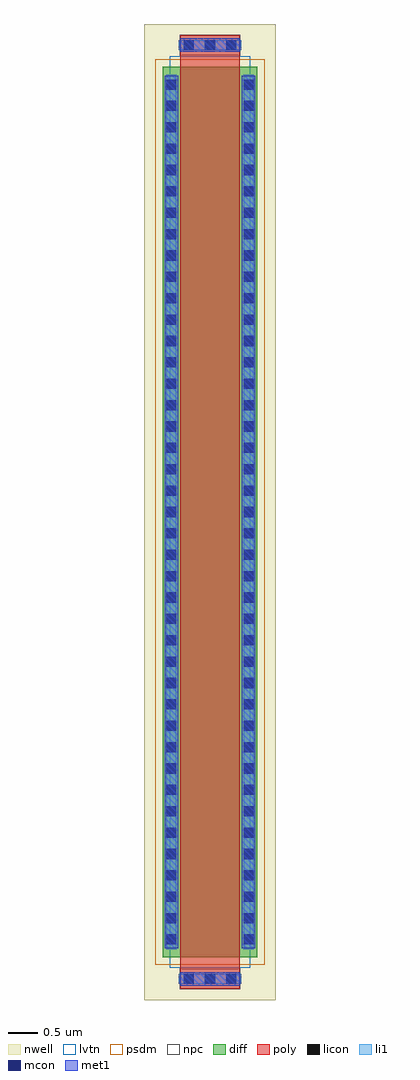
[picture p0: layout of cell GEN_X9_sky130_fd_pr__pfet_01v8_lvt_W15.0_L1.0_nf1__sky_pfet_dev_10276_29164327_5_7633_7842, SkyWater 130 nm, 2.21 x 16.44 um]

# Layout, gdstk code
import gdstk
lib = gdstk.Library(unit=1e-6, precision=1e-09)
def R(c, l, rs):  # rectangles x0, y0, x1, y1
    for r in rs: c.add(gdstk.rectangle(r[:2], r[2:], *l))
nwell = (64, 20)
diff = (65, 20)
poly = (66, 20)
licon = (66, 44)
li1 = (67, 20)
mcon = (67, 44)
met1 = (68, 20)
psdm = (94, 20)
npc = (95, 20)
lvtn = (125, 44)

gen_x9_sky130_fd_pr__pfe = lib.new_cell('GEN_X9_sky130_fd_pr__pfet_01v8_lvt_W15.0_L1.0_nf1__compass_52282c37_6683')
R(gen_x9_sky130_fd_pr__pfe, diff, [(-0.8,-7.5,0.8,7.5)])

c_gen_x9_sky130_fd_pr__pfe = lib.new_cell('GEN_X9_sky130_fd_pr__pfet_01v8_lvt_W15.0_L1.0_nf1__rectangle_52282c37_4771')
c_gen_x9_sky130_fd_pr__pfe.add(gdstk.Reference(gen_x9_sky130_fd_pr__pfe, (0.8,7.5)))

c_gen_x9_sky130_fd_pr__pfe_ = lib.new_cell('GEN_X9_sky130_fd_pr__pfet_01v8_lvt_W15.0_L1.0_nf1__compass_13620e5c_9110')
R(c_gen_x9_sky130_fd_pr__pfe_, licon, [(-0.085,-0.085,0.085,0.085)])

c_gen_x9_sky130_fd_pr__pfe__ = lib.new_cell('GEN_X9_sky130_fd_pr__pfet_01v8_lvt_W15.0_L1.0_nf1__rectangle_13620e5c_5018')
c_gen_x9_sky130_fd_pr__pfe__.add(gdstk.Reference(c_gen_x9_sky130_fd_pr__pfe_, (0.085,0.085)))

c_gen_x9_sky130_fd_pr__pfe___ = lib.new_cell('GEN_X9_sky130_fd_pr__pfet_01v8_lvt_W15.0_L1.0_nf1__via_generator_bf61c820_0534')
c_gen_x9_sky130_fd_pr__pfe___.add(gdstk.Reference(c_gen_x9_sky130_fd_pr__pfe__, (0.065,0.215)))
c_gen_x9_sky130_fd_pr__pfe___.add(gdstk.Reference(c_gen_x9_sky130_fd_pr__pfe__, (0.065,0.575)))
c_gen_x9_sky130_fd_pr__pfe___.add(gdstk.Reference(c_gen_x9_sky130_fd_pr__pfe__, (0.065,0.935)))
c_gen_x9_sky130_fd_pr__pfe___.add(gdstk.Reference(c_gen_x9_sky130_fd_pr__pfe__, (0.065,1.295)))
c_gen_x9_sky130_fd_pr__pfe___.add(gdstk.Reference(c_gen_x9_sky130_fd_pr__pfe__, (0.065,1.655)))
c_gen_x9_sky130_fd_pr__pfe___.add(gdstk.Reference(c_gen_x9_sky130_fd_pr__pfe__, (0.065,2.015)))
c_gen_x9_sky130_fd_pr__pfe___.add(gdstk.Reference(c_gen_x9_sky130_fd_pr__pfe__, (0.065,2.375)))
c_gen_x9_sky130_fd_pr__pfe___.add(gdstk.Reference(c_gen_x9_sky130_fd_pr__pfe__, (0.065,2.735)))
c_gen_x9_sky130_fd_pr__pfe___.add(gdstk.Reference(c_gen_x9_sky130_fd_pr__pfe__, (0.065,3.095)))
c_gen_x9_sky130_fd_pr__pfe___.add(gdstk.Reference(c_gen_x9_sky130_fd_pr__pfe__, (0.065,3.455)))
c_gen_x9_sky130_fd_pr__pfe___.add(gdstk.Reference(c_gen_x9_sky130_fd_pr__pfe__, (0.065,3.815)))
c_gen_x9_sky130_fd_pr__pfe___.add(gdstk.Reference(c_gen_x9_sky130_fd_pr__pfe__, (0.065,4.175)))
c_gen_x9_sky130_fd_pr__pfe___.add(gdstk.Reference(c_gen_x9_sky130_fd_pr__pfe__, (0.065,4.535)))
c_gen_x9_sky130_fd_pr__pfe___.add(gdstk.Reference(c_gen_x9_sky130_fd_pr__pfe__, (0.065,4.895)))
c_gen_x9_sky130_fd_pr__pfe___.add(gdstk.Reference(c_gen_x9_sky130_fd_pr__pfe__, (0.065,5.255)))
c_gen_x9_sky130_fd_pr__pfe___.add(gdstk.Reference(c_gen_x9_sky130_fd_pr__pfe__, (0.065,5.615)))
c_gen_x9_sky130_fd_pr__pfe___.add(gdstk.Reference(c_gen_x9_sky130_fd_pr__pfe__, (0.065,5.975)))
c_gen_x9_sky130_fd_pr__pfe___.add(gdstk.Reference(c_gen_x9_sky130_fd_pr__pfe__, (0.065,6.335)))
c_gen_x9_sky130_fd_pr__pfe___.add(gdstk.Reference(c_gen_x9_sky130_fd_pr__pfe__, (0.065,6.695)))
c_gen_x9_sky130_fd_pr__pfe___.add(gdstk.Reference(c_gen_x9_sky130_fd_pr__pfe__, (0.065,7.055)))
c_gen_x9_sky130_fd_pr__pfe___.add(gdstk.Reference(c_gen_x9_sky130_fd_pr__pfe__, (0.065,7.415)))
c_gen_x9_sky130_fd_pr__pfe___.add(gdstk.Reference(c_gen_x9_sky130_fd_pr__pfe__, (0.065,7.775)))
c_gen_x9_sky130_fd_pr__pfe___.add(gdstk.Reference(c_gen_x9_sky130_fd_pr__pfe__, (0.065,8.135)))
c_gen_x9_sky130_fd_pr__pfe___.add(gdstk.Reference(c_gen_x9_sky130_fd_pr__pfe__, (0.065,8.495)))
c_gen_x9_sky130_fd_pr__pfe___.add(gdstk.Reference(c_gen_x9_sky130_fd_pr__pfe__, (0.065,8.855)))
c_gen_x9_sky130_fd_pr__pfe___.add(gdstk.Reference(c_gen_x9_sky130_fd_pr__pfe__, (0.065,9.215)))
c_gen_x9_sky130_fd_pr__pfe___.add(gdstk.Reference(c_gen_x9_sky130_fd_pr__pfe__, (0.065,9.575)))
c_gen_x9_sky130_fd_pr__pfe___.add(gdstk.Reference(c_gen_x9_sky130_fd_pr__pfe__, (0.065,9.935)))
c_gen_x9_sky130_fd_pr__pfe___.add(gdstk.Reference(c_gen_x9_sky130_fd_pr__pfe__, (0.065,10.295)))
c_gen_x9_sky130_fd_pr__pfe___.add(gdstk.Reference(c_gen_x9_sky130_fd_pr__pfe__, (0.065,10.655)))
c_gen_x9_sky130_fd_pr__pfe___.add(gdstk.Reference(c_gen_x9_sky130_fd_pr__pfe__, (0.065,11.015)))
c_gen_x9_sky130_fd_pr__pfe___.add(gdstk.Reference(c_gen_x9_sky130_fd_pr__pfe__, (0.065,11.375)))
c_gen_x9_sky130_fd_pr__pfe___.add(gdstk.Reference(c_gen_x9_sky130_fd_pr__pfe__, (0.065,11.735)))
c_gen_x9_sky130_fd_pr__pfe___.add(gdstk.Reference(c_gen_x9_sky130_fd_pr__pfe__, (0.065,12.095)))
c_gen_x9_sky130_fd_pr__pfe___.add(gdstk.Reference(c_gen_x9_sky130_fd_pr__pfe__, (0.065,12.455)))
c_gen_x9_sky130_fd_pr__pfe___.add(gdstk.Reference(c_gen_x9_sky130_fd_pr__pfe__, (0.065,12.815)))
c_gen_x9_sky130_fd_pr__pfe___.add(gdstk.Reference(c_gen_x9_sky130_fd_pr__pfe__, (0.065,13.175)))
c_gen_x9_sky130_fd_pr__pfe___.add(gdstk.Reference(c_gen_x9_sky130_fd_pr__pfe__, (0.065,13.535)))
c_gen_x9_sky130_fd_pr__pfe___.add(gdstk.Reference(c_gen_x9_sky130_fd_pr__pfe__, (0.065,13.895)))
c_gen_x9_sky130_fd_pr__pfe___.add(gdstk.Reference(c_gen_x9_sky130_fd_pr__pfe__, (0.065,14.255)))
c_gen_x9_sky130_fd_pr__pfe___.add(gdstk.Reference(c_gen_x9_sky130_fd_pr__pfe__, (0.065,14.615)))

c_gen_x9_sky130_fd_pr__pfe____ = lib.new_cell('GEN_X9_sky130_fd_pr__pfet_01v8_lvt_W15.0_L1.0_nf1__compass_d68a24f6_7389')
R(c_gen_x9_sky130_fd_pr__pfe____, li1, [(-0.085,-7.365,0.085,7.365)])

c_gen_x9_sky130_fd_pr__pfe_____ = lib.new_cell('GEN_X9_sky130_fd_pr__pfet_01v8_lvt_W15.0_L1.0_nf1__rectangle_d68a24f6_6407')
c_gen_x9_sky130_fd_pr__pfe_____.add(gdstk.Reference(c_gen_x9_sky130_fd_pr__pfe____, (0.085,7.365)))

c_gen_x9_sky130_fd_pr__pfe______ = lib.new_cell('GEN_X9_sky130_fd_pr__pfet_01v8_lvt_W15.0_L1.0_nf1__compass_3c2dbaf2_5419')
R(c_gen_x9_sky130_fd_pr__pfe______, mcon, [(-0.085,-0.085,0.085,0.085)])

c_gen_x9_sky130_fd_pr__pfe_______ = lib.new_cell('GEN_X9_sky130_fd_pr__pfet_01v8_lvt_W15.0_L1.0_nf1__rectangle_3c2dbaf2_4488')
c_gen_x9_sky130_fd_pr__pfe_______.add(gdstk.Reference(c_gen_x9_sky130_fd_pr__pfe______, (0.085,0.085)))

c_gen_x9_sky130_fd_pr__pfe________ = lib.new_cell('GEN_X9_sky130_fd_pr__pfet_01v8_lvt_W15.0_L1.0_nf1__via_generator_392beb01_2680')
c_gen_x9_sky130_fd_pr__pfe________.add(gdstk.Reference(c_gen_x9_sky130_fd_pr__pfe_______, (0.065,0.215)))
c_gen_x9_sky130_fd_pr__pfe________.add(gdstk.Reference(c_gen_x9_sky130_fd_pr__pfe_______, (0.065,0.575)))
c_gen_x9_sky130_fd_pr__pfe________.add(gdstk.Reference(c_gen_x9_sky130_fd_pr__pfe_______, (0.065,0.935)))
c_gen_x9_sky130_fd_pr__pfe________.add(gdstk.Reference(c_gen_x9_sky130_fd_pr__pfe_______, (0.065,1.295)))
c_gen_x9_sky130_fd_pr__pfe________.add(gdstk.Reference(c_gen_x9_sky130_fd_pr__pfe_______, (0.065,1.655)))
c_gen_x9_sky130_fd_pr__pfe________.add(gdstk.Reference(c_gen_x9_sky130_fd_pr__pfe_______, (0.065,2.015)))
c_gen_x9_sky130_fd_pr__pfe________.add(gdstk.Reference(c_gen_x9_sky130_fd_pr__pfe_______, (0.065,2.375)))
c_gen_x9_sky130_fd_pr__pfe________.add(gdstk.Reference(c_gen_x9_sky130_fd_pr__pfe_______, (0.065,2.735)))
c_gen_x9_sky130_fd_pr__pfe________.add(gdstk.Reference(c_gen_x9_sky130_fd_pr__pfe_______, (0.065,3.095)))
c_gen_x9_sky130_fd_pr__pfe________.add(gdstk.Reference(c_gen_x9_sky130_fd_pr__pfe_______, (0.065,3.455)))
c_gen_x9_sky130_fd_pr__pfe________.add(gdstk.Reference(c_gen_x9_sky130_fd_pr__pfe_______, (0.065,3.815)))
c_gen_x9_sky130_fd_pr__pfe________.add(gdstk.Reference(c_gen_x9_sky130_fd_pr__pfe_______, (0.065,4.175)))
c_gen_x9_sky130_fd_pr__pfe________.add(gdstk.Reference(c_gen_x9_sky130_fd_pr__pfe_______, (0.065,4.535)))
c_gen_x9_sky130_fd_pr__pfe________.add(gdstk.Reference(c_gen_x9_sky130_fd_pr__pfe_______, (0.065,4.895)))
c_gen_x9_sky130_fd_pr__pfe________.add(gdstk.Reference(c_gen_x9_sky130_fd_pr__pfe_______, (0.065,5.255)))
c_gen_x9_sky130_fd_pr__pfe________.add(gdstk.Reference(c_gen_x9_sky130_fd_pr__pfe_______, (0.065,5.615)))
c_gen_x9_sky130_fd_pr__pfe________.add(gdstk.Reference(c_gen_x9_sky130_fd_pr__pfe_______, (0.065,5.975)))
c_gen_x9_sky130_fd_pr__pfe________.add(gdstk.Reference(c_gen_x9_sky130_fd_pr__pfe_______, (0.065,6.335)))
c_gen_x9_sky130_fd_pr__pfe________.add(gdstk.Reference(c_gen_x9_sky130_fd_pr__pfe_______, (0.065,6.695)))
c_gen_x9_sky130_fd_pr__pfe________.add(gdstk.Reference(c_gen_x9_sky130_fd_pr__pfe_______, (0.065,7.055)))
c_gen_x9_sky130_fd_pr__pfe________.add(gdstk.Reference(c_gen_x9_sky130_fd_pr__pfe_______, (0.065,7.415)))
c_gen_x9_sky130_fd_pr__pfe________.add(gdstk.Reference(c_gen_x9_sky130_fd_pr__pfe_______, (0.065,7.775)))
c_gen_x9_sky130_fd_pr__pfe________.add(gdstk.Reference(c_gen_x9_sky130_fd_pr__pfe_______, (0.065,8.135)))
c_gen_x9_sky130_fd_pr__pfe________.add(gdstk.Reference(c_gen_x9_sky130_fd_pr__pfe_______, (0.065,8.495)))
c_gen_x9_sky130_fd_pr__pfe________.add(gdstk.Reference(c_gen_x9_sky130_fd_pr__pfe_______, (0.065,8.855)))
c_gen_x9_sky130_fd_pr__pfe________.add(gdstk.Reference(c_gen_x9_sky130_fd_pr__pfe_______, (0.065,9.215)))
c_gen_x9_sky130_fd_pr__pfe________.add(gdstk.Reference(c_gen_x9_sky130_fd_pr__pfe_______, (0.065,9.575)))
c_gen_x9_sky130_fd_pr__pfe________.add(gdstk.Reference(c_gen_x9_sky130_fd_pr__pfe_______, (0.065,9.935)))
c_gen_x9_sky130_fd_pr__pfe________.add(gdstk.Reference(c_gen_x9_sky130_fd_pr__pfe_______, (0.065,10.295)))
c_gen_x9_sky130_fd_pr__pfe________.add(gdstk.Reference(c_gen_x9_sky130_fd_pr__pfe_______, (0.065,10.655)))
c_gen_x9_sky130_fd_pr__pfe________.add(gdstk.Reference(c_gen_x9_sky130_fd_pr__pfe_______, (0.065,11.015)))
c_gen_x9_sky130_fd_pr__pfe________.add(gdstk.Reference(c_gen_x9_sky130_fd_pr__pfe_______, (0.065,11.375)))
c_gen_x9_sky130_fd_pr__pfe________.add(gdstk.Reference(c_gen_x9_sky130_fd_pr__pfe_______, (0.065,11.735)))
c_gen_x9_sky130_fd_pr__pfe________.add(gdstk.Reference(c_gen_x9_sky130_fd_pr__pfe_______, (0.065,12.095)))
c_gen_x9_sky130_fd_pr__pfe________.add(gdstk.Reference(c_gen_x9_sky130_fd_pr__pfe_______, (0.065,12.455)))
c_gen_x9_sky130_fd_pr__pfe________.add(gdstk.Reference(c_gen_x9_sky130_fd_pr__pfe_______, (0.065,12.815)))
c_gen_x9_sky130_fd_pr__pfe________.add(gdstk.Reference(c_gen_x9_sky130_fd_pr__pfe_______, (0.065,13.175)))
c_gen_x9_sky130_fd_pr__pfe________.add(gdstk.Reference(c_gen_x9_sky130_fd_pr__pfe_______, (0.065,13.535)))
c_gen_x9_sky130_fd_pr__pfe________.add(gdstk.Reference(c_gen_x9_sky130_fd_pr__pfe_______, (0.065,13.895)))
c_gen_x9_sky130_fd_pr__pfe________.add(gdstk.Reference(c_gen_x9_sky130_fd_pr__pfe_______, (0.065,14.255)))
c_gen_x9_sky130_fd_pr__pfe________.add(gdstk.Reference(c_gen_x9_sky130_fd_pr__pfe_______, (0.065,14.615)))

c_gen_x9_sky130_fd_pr__pfe_________ = lib.new_cell('GEN_X9_sky130_fd_pr__pfet_01v8_lvt_W15.0_L1.0_nf1__compass_a1e64faa_7385')
R(c_gen_x9_sky130_fd_pr__pfe_________, met1, [(-0.115,-7.345,0.115,7.345)])

c_gen_x9_sky130_fd_pr__pfe__________ = lib.new_cell('GEN_X9_sky130_fd_pr__pfet_01v8_lvt_W15.0_L1.0_nf1__rectangle_a1e64faa_0467')
c_gen_x9_sky130_fd_pr__pfe__________.add(gdstk.Reference(c_gen_x9_sky130_fd_pr__pfe_________, (0.115,7.345)))

c_gen_x9_sky130_fd_pr__pfe___________ = lib.new_cell('GEN_X9_sky130_fd_pr__pfet_01v8_lvt_W15.0_L1.0_nf1__via_stack_d3920be4_9771')
c_gen_x9_sky130_fd_pr__pfe___________.add(gdstk.Reference(c_gen_x9_sky130_fd_pr__pfe___, (0,0)))
c_gen_x9_sky130_fd_pr__pfe___________.add(gdstk.Reference(c_gen_x9_sky130_fd_pr__pfe_____, (0.065,0.135)))
c_gen_x9_sky130_fd_pr__pfe___________.add(gdstk.Reference(c_gen_x9_sky130_fd_pr__pfe________, (0,0)))
c_gen_x9_sky130_fd_pr__pfe___________.add(gdstk.Reference(c_gen_x9_sky130_fd_pr__pfe__________, (0.035,0.155)))

c_gen_x9_sky130_fd_pr__pfe____________ = lib.new_cell('GEN_X9_sky130_fd_pr__pfet_01v8_lvt_W15.0_L1.0_nf1__compass_b0803ffb_2723')
R(c_gen_x9_sky130_fd_pr__pfe____________, poly, [(-0.5,-7.7,0.5,7.7)])

c_gen_x9_sky130_fd_pr__pfe_____________ = lib.new_cell('GEN_X9_sky130_fd_pr__pfet_01v8_lvt_W15.0_L1.0_nf1__rectangle_b0803ffb_7302')
c_gen_x9_sky130_fd_pr__pfe_____________.add(gdstk.Reference(c_gen_x9_sky130_fd_pr__pfe____________, (0.5,7.7)))

c_gen_x9_sky130_fd_pr__pfe______________ = lib.new_cell('GEN_X9_sky130_fd_pr__pfet_01v8_lvt_W15.0_L1.0_nf1__compass_674a5263_8974')
R(c_gen_x9_sky130_fd_pr__pfe______________, poly, [(-0.5,-0.165,0.5,0.165)])

c_gen_x9_sky130_fd_pr__pfe_______________ = lib.new_cell('GEN_X9_sky130_fd_pr__pfet_01v8_lvt_W15.0_L1.0_nf1__rectangle_674a5263_5785')
c_gen_x9_sky130_fd_pr__pfe_______________.add(gdstk.Reference(c_gen_x9_sky130_fd_pr__pfe______________, (0.5,0.165)))

c_gen_x9_sky130_fd_pr__pfe________________ = lib.new_cell('GEN_X9_sky130_fd_pr__pfet_01v8_lvt_W15.0_L1.0_nf1__compass_415d02c3_9800')
R(c_gen_x9_sky130_fd_pr__pfe________________, npc, [(-0.51,-0.175,0.51,0.175)])

c_gen_x9_sky130_fd_pr__pfe_________________ = lib.new_cell('GEN_X9_sky130_fd_pr__pfet_01v8_lvt_W15.0_L1.0_nf1__rectangle_415d02c3_3799')
c_gen_x9_sky130_fd_pr__pfe_________________.add(gdstk.Reference(c_gen_x9_sky130_fd_pr__pfe________________, (0.51,0.175)))

c_gen_x9_sky130_fd_pr__pfe__________________ = lib.new_cell('GEN_X9_sky130_fd_pr__pfet_01v8_lvt_W15.0_L1.0_nf1__via_generator_33d20b07_8128')
c_gen_x9_sky130_fd_pr__pfe__________________.add(gdstk.Reference(c_gen_x9_sky130_fd_pr__pfe__, (0.055,0.08)))
c_gen_x9_sky130_fd_pr__pfe__________________.add(gdstk.Reference(c_gen_x9_sky130_fd_pr__pfe__, (0.415,0.08)))
c_gen_x9_sky130_fd_pr__pfe__________________.add(gdstk.Reference(c_gen_x9_sky130_fd_pr__pfe__, (0.775,0.08)))

c_gen_x9_sky130_fd_pr__pfe___________________ = lib.new_cell('GEN_X9_sky130_fd_pr__pfet_01v8_lvt_W15.0_L1.0_nf1__compass_b5a72fd6_1308')
R(c_gen_x9_sky130_fd_pr__pfe___________________, li1, [(-0.525,-0.085,0.525,0.085)])

c_gen_x9_sky130_fd_pr__pfe____________________ = lib.new_cell('GEN_X9_sky130_fd_pr__pfet_01v8_lvt_W15.0_L1.0_nf1__rectangle_b5a72fd6_1876')
c_gen_x9_sky130_fd_pr__pfe____________________.add(gdstk.Reference(c_gen_x9_sky130_fd_pr__pfe___________________, (0.525,0.085)))

c_gen_x9_sky130_fd_pr__pfe_____________________ = lib.new_cell('GEN_X9_sky130_fd_pr__pfet_01v8_lvt_W15.0_L1.0_nf1__via_generator_01ce030f_5330')
c_gen_x9_sky130_fd_pr__pfe_____________________.add(gdstk.Reference(c_gen_x9_sky130_fd_pr__pfe_______, (0.055,0.08)))
c_gen_x9_sky130_fd_pr__pfe_____________________.add(gdstk.Reference(c_gen_x9_sky130_fd_pr__pfe_______, (0.415,0.08)))
c_gen_x9_sky130_fd_pr__pfe_____________________.add(gdstk.Reference(c_gen_x9_sky130_fd_pr__pfe_______, (0.775,0.08)))

c_gen_x9_sky130_fd_pr__pfe______________________ = lib.new_cell('GEN_X9_sky130_fd_pr__pfet_01v8_lvt_W15.0_L1.0_nf1__compass_8f72ae85_1149')
R(c_gen_x9_sky130_fd_pr__pfe______________________, met1, [(-0.505,-0.115,0.505,0.115)])

c_gen_x9_sky130_fd_pr__pfe_______________________ = lib.new_cell('GEN_X9_sky130_fd_pr__pfet_01v8_lvt_W15.0_L1.0_nf1__rectangle_8f72ae85_0348')
c_gen_x9_sky130_fd_pr__pfe_______________________.add(gdstk.Reference(c_gen_x9_sky130_fd_pr__pfe______________________, (0.505,0.115)))

c_gen_x9_sky130_fd_pr__pfe________________________ = lib.new_cell('GEN_X9_sky130_fd_pr__pfet_01v8_lvt_W15.0_L1.0_nf1__via_stack_10315345_2652')
c_gen_x9_sky130_fd_pr__pfe________________________.add(gdstk.Reference(c_gen_x9_sky130_fd_pr__pfe_________________, (-0.01,-0.01)))
c_gen_x9_sky130_fd_pr__pfe________________________.add(gdstk.Reference(c_gen_x9_sky130_fd_pr__pfe__________________, (0,0)))
c_gen_x9_sky130_fd_pr__pfe________________________.add(gdstk.Reference(c_gen_x9_sky130_fd_pr__pfe____________________, (-0.025,0.08)))
c_gen_x9_sky130_fd_pr__pfe________________________.add(gdstk.Reference(c_gen_x9_sky130_fd_pr__pfe_____________________, (0,0)))
c_gen_x9_sky130_fd_pr__pfe________________________.add(gdstk.Reference(c_gen_x9_sky130_fd_pr__pfe_______________________, (-0.005,0.05)))

c_gen_x9_sky130_fd_pr__pfe_________________________ = lib.new_cell('GEN_X9_sky130_fd_pr__pfet_01v8_lvt_W15.0_L1.0_nf1__poly_con$4_3032')
c_gen_x9_sky130_fd_pr__pfe_________________________.add(gdstk.Reference(c_gen_x9_sky130_fd_pr__pfe_______________, (0,0)))
c_gen_x9_sky130_fd_pr__pfe_________________________.add(gdstk.Reference(c_gen_x9_sky130_fd_pr__pfe________________________, (0,0)))

c_gen_x9_sky130_fd_pr__pfe__________________________ = lib.new_cell('GEN_X9_sky130_fd_pr__pfet_01v8_lvt_W15.0_L1.0_nf1__compass_8d9b71a2_6541')
R(c_gen_x9_sky130_fd_pr__pfe__________________________, psdm, [(-0.925,-7.625,0.925,7.625)])

c_gen_x9_sky130_fd_pr__pfe___________________________ = lib.new_cell('GEN_X9_sky130_fd_pr__pfet_01v8_lvt_W15.0_L1.0_nf1__rectangle_8d9b71a2_1542')
c_gen_x9_sky130_fd_pr__pfe___________________________.add(gdstk.Reference(c_gen_x9_sky130_fd_pr__pfe__________________________, (0.925,7.625)))

c_gen_x9_sky130_fd_pr__pfe____________________________ = lib.new_cell('GEN_X9_sky130_fd_pr__pfet_01v8_lvt_W15.0_L1.0_nf1__compass_89957d3e_9055')
R(c_gen_x9_sky130_fd_pr__pfe____________________________, lvtn, [(-0.68,-7.68,0.68,7.68)])

c_gen_x9_sky130_fd_pr__pfe_____________________________ = lib.new_cell('GEN_X9_sky130_fd_pr__pfet_01v8_lvt_W15.0_L1.0_nf1__rectangle_89957d3e_5239')
c_gen_x9_sky130_fd_pr__pfe_____________________________.add(gdstk.Reference(c_gen_x9_sky130_fd_pr__pfe____________________________, (0.68,7.68)))

c_gen_x9_sky130_fd_pr__pfe______________________________ = lib.new_cell('GEN_X9_sky130_fd_pr__pfet_01v8_lvt_W15.0_L1.0_nf1__dev_temp$4_4112')
c_gen_x9_sky130_fd_pr__pfe______________________________.add(gdstk.Reference(c_gen_x9_sky130_fd_pr__pfe, (0,0)))
c_gen_x9_sky130_fd_pr__pfe______________________________.add(gdstk.Reference(c_gen_x9_sky130_fd_pr__pfe___________, (0,0)))
c_gen_x9_sky130_fd_pr__pfe______________________________.add(gdstk.Reference(c_gen_x9_sky130_fd_pr__pfe___________, (1.3,0)))
c_gen_x9_sky130_fd_pr__pfe______________________________.add(gdstk.Reference(c_gen_x9_sky130_fd_pr__pfe_____________, (0.3,-0.2)))
c_gen_x9_sky130_fd_pr__pfe______________________________.add(gdstk.Reference(c_gen_x9_sky130_fd_pr__pfe_________________________, (0.3,-0.53)))
c_gen_x9_sky130_fd_pr__pfe______________________________.add(gdstk.Reference(c_gen_x9_sky130_fd_pr__pfe_________________________, (0.3,15.2)))
c_gen_x9_sky130_fd_pr__pfe______________________________.add(gdstk.Reference(c_gen_x9_sky130_fd_pr__pfe___________________________, (-0.125,-0.125)))
c_gen_x9_sky130_fd_pr__pfe______________________________.add(gdstk.Reference(c_gen_x9_sky130_fd_pr__pfe_____________________________, (0.12,-0.18)))

c_gen_x9_sky130_fd_pr__pfe_______________________________ = lib.new_cell('GEN_X9_sky130_fd_pr__pfet_01v8_lvt_W15.0_L1.0_nf1__compass_1295a1e6_6991')
R(c_gen_x9_sky130_fd_pr__pfe_______________________________, nwell, [(-1.105,-8.22,1.105,8.22)])

c_gen_x9_sky130_fd_pr__pfe________________________________ = lib.new_cell('GEN_X9_sky130_fd_pr__pfet_01v8_lvt_W15.0_L1.0_nf1__rectangle_1295a1e6_5484')
c_gen_x9_sky130_fd_pr__pfe________________________________.add(gdstk.Reference(c_gen_x9_sky130_fd_pr__pfe_______________________________, (1.105,8.22)))

c_gen_x9_sky130_fd_pr__pfe_________________________________ = lib.new_cell('GEN_X9_sky130_fd_pr__pfet_01v8_lvt_W15.0_L1.0_nf1__sky_pfet_dev_10276_29164327_5_7633_7842')
c_gen_x9_sky130_fd_pr__pfe_________________________________.add(gdstk.Reference(c_gen_x9_sky130_fd_pr__pfe______________________________, (0,0)))
c_gen_x9_sky130_fd_pr__pfe_________________________________.add(gdstk.Reference(c_gen_x9_sky130_fd_pr__pfe________________________________, (-0.305,-0.72)))

lib.write_gds('GEN_X9_sky130_fd_pr__pfet_01v8_lvt_W15.0_L1.0_nf1__sky_pfet_dev_10276_29164327_5_7633_7842.gds')
